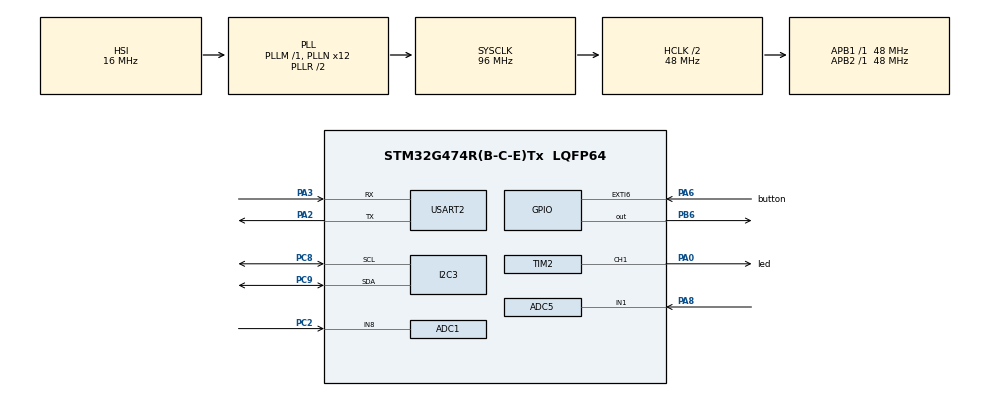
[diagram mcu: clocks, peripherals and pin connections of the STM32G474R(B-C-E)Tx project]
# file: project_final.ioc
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ADC1.Channel-0\#ChannelRegularConversion=ADC_CHANNEL_8
ADC1.ClockPrescaler=ADC_CLOCK_ASYNC_DIV8
ADC1.DMAContinuousRequests=ENABLE
ADC1.EOCSelection=ADC_EOC_SEQ_CONV
ADC1.ExternalTrigConv=ADC_EXTERNALTRIG_T2_TRGO
ADC1.NbrOfConversionFlag=1
ADC1.OffsetNumber-0\#ChannelRegularConversion=ADC_OFFSET_NONE
ADC1.Overrun=ADC_OVR_DATA_OVERWRITTEN
ADC1.Rank-0\#ChannelRegularConversion=1
ADC1.SamplingTime-0\#ChannelRegularConversion=ADC_SAMPLETIME_2CYCLES_5
ADC1.master=1
ADC5.Channel-1\#ChannelRegularConversion=ADC_CHANNEL_1
ADC5.ClockPrescaler=ADC_CLOCK_ASYNC_DIV8
ADC5.DMAContinuousRequests=ENABLE
ADC5.EOCSelection=ADC_EOC_SEQ_CONV
ADC5.ExternalTrigConv=ADC_EXTERNALTRIG_T2_TRGO
ADC5.NbrOfConversionFlag=1
ADC5.OffsetNumber-1\#ChannelRegularConversion=ADC_OFFSET_NONE
ADC5.Overrun=ADC_OVR_DATA_OVERWRITTEN
ADC5.Rank-1\#ChannelRegularConversion=1
ADC5.SamplingTime-1\#ChannelRegularConversion=ADC_SAMPLETIME_2CYCLES_5
Dma.ADC1.0.Direction=DMA_PERIPH_TO_MEMORY
Dma.ADC1.0.EventEnable=DISABLE
Dma.ADC1.0.Instance=DMA1_Channel1
Dma.ADC1.0.MemDataAlignment=DMA_MDATAALIGN_WORD
Dma.ADC1.0.MemInc=DMA_MINC_ENABLE
Dma.ADC1.0.Mode=DMA_CIRCULAR
Dma.ADC1.0.PeriphDataAlignment=DMA_PDATAALIGN_HALFWORD
Dma.ADC1.0.PeriphInc=DMA_PINC_DISABLE
Dma.ADC1.0.Polarity=HAL_DMAMUX_REQ_GEN_RISING
Dma.ADC1.0.Priority=DMA_PRIORITY_LOW
Dma.ADC1.0.RequestNumber=1
Dma.ADC1.0.SignalID=NONE
Dma.ADC1.0.SyncEnable=DISABLE
Dma.ADC1.0.SyncPolarity=HAL_DMAMUX_SYNC_NO_EVENT
Dma.ADC1.0.SyncRequestNumber=1
Dma.ADC1.0.SyncSignalID=NONE
Dma.ADC5.1.Direction=DMA_PERIPH_TO_MEMORY
Dma.ADC5.1.EventEnable=DISABLE
Dma.ADC5.1.Instance=DMA1_Channel2
Dma.ADC5.1.MemDataAlignment=DMA_MDATAALIGN_WORD
Dma.ADC5.1.MemInc=DMA_MINC_ENABLE
Dma.ADC5.1.Mode=DMA_CIRCULAR
Dma.ADC5.1.PeriphDataAlignment=DMA_PDATAALIGN_HALFWORD
Dma.ADC5.1.PeriphInc=DMA_PINC_DISABLE
Dma.ADC5.1.Polarity=HAL_DMAMUX_REQ_GEN_RISING
Dma.ADC5.1.Priority=DMA_PRIORITY_LOW
Dma.ADC5.1.RequestNumber=1
Dma.ADC5.1.SignalID=NONE
Dma.ADC5.1.SyncEnable=DISABLE
Dma.ADC5.1.SyncPolarity=HAL_DMAMUX_SYNC_NO_EVENT
Dma.ADC5.1.SyncRequestNumber=1
Dma.ADC5.1.SyncSignalID=NONE
Dma.Request0=ADC1
Dma.Request1=ADC5
I2C3.Timing=0x20303E5D
Mcu.Family=STM32G4
Mcu.Name=STM32G474R(B-C-E)Tx
Mcu.Package=LQFP64
NVIC.ADC1_2_IRQn=true\:1\:0\:true\:false\:true\:true\:true\:true
NVIC.ADC5_IRQn=true\:0\:0\:true\:false\:true\:true\:true\:true
NVIC.DMA1_Channel1_IRQn=true\:0\:0\:true\:false\:true\:false\:true\:true
NVIC.DMA1_Channel2_IRQn=true\:0\:0\:true\:false\:true\:false\:true\:true
NVIC.EXTI9_5_IRQn=true\:0\:0\:true\:false\:true\:true\:true\:true
NVIC.PriorityGroup=NVIC_PRIORITYGROUP_4
NVIC.TIM1_UP_TIM16_IRQn=true\:0\:0\:false\:false\:true\:true\:true\:true
NVIC.TIM6_DAC_IRQn=true\:0\:0\:true\:false\:true\:true\:true\:true
NVIC.TIM7_DAC_IRQn=true\:0\:0\:true\:false\:true\:true\:true\:true
PA0.GPIO_Label=led
PA0.Signal=S_TIM2_CH1
PA2.Mode=Asynchronous
PA2.Signal=USART2_TX
PA3.Mode=Asynchronous
PA3.Signal=USART2_RX
PA6.GPIO_Label=button
PA6.GPIO_ModeDefaultEXTI=GPIO_MODE_IT_RISING
PA6.Signal=GPXTI6
PA8.Mode=IN1-Single-Ended
PA8.Signal=ADC5_IN1
PB6.PinState=GPIO_PIN_SET
PB6.Signal=GPIO_Output
PC2.Mode=IN8-Single-Ended
PC2.Signal=ADC1_IN8
PC8.GPIO_Pu=GPIO_PULLUP
PC8.Mode=I2C
PC8.Signal=I2C3_SCL
PC9.GPIO_Pu=GPIO_NOPULL
PC9.Mode=I2C
PC9.Signal=I2C3_SDA
ProjectManager.HeapSize=0x200
ProjectManager.StackSize=0x400
ProjectManager.TargetToolchain=STM32CubeIDE
RCC.ADC12Freq_Value=96000000
RCC.ADC345Freq_Value=96000000
RCC.AHBCLKDivider=RCC_SYSCLK_DIV2
RCC.AHBFreq_Value=48000000
RCC.APB1Freq_Value=48000000
RCC.APB1TimFreq_Value=48000000
RCC.APB2Freq_Value=48000000
RCC.APB2TimFreq_Value=48000000
RCC.CortexFreq_Value=48000000
RCC.EXTERNAL_CLOCK_VALUE=12288000
RCC.HCLKFreq_Value=48000000
RCC.HSE_VALUE=24000000
RCC.HSI48_VALUE=48000000
RCC.HSI_VALUE=16000000
RCC.LSE_VALUE=32768
RCC.PLLN=12
RCC.RTCClockSelection=RCC_RTCCLKSOURCE_LSE
RCC.SYSCLKFreq_VALUE=96000000
RCC.SYSCLKSource=RCC_SYSCLKSOURCE_PLLCLK
RCC.USBFreq_Value=96000000
RCC.VCOOutputFreq_Value=192000000
SH.S_TIM2_CH1.0=TIM2_CH1,PWM Generation1 CH1
TIM1.PeriodNoDither=99
TIM1.Prescaler=47999
TIM2.Channel-PWM\ Generation1\ CH1=TIM_CHANNEL_1
TIM2.PeriodNoDither=399
TIM2.Prescaler=479
TIM2.TIM_MasterOutputTrigger=TIM_TRGO_UPDATE
TIM2.TIM_MasterSlaveMode=TIM_MASTERSLAVEMODE_ENABLE
TIM6.PeriodNoDither=29999
TIM6.Prescaler=47999
TIM7.PeriodNoDither=4999
TIM7.Prescaler=47999
USART2.VirtualMode-Asynchronous=VM_ASYNC
VP_SYS_VS_DBSignals.Mode=DisableDeadBatterySignals
VP_TIM1_VS_ClockSourceINT.Mode=Internal
VP_TIM2_VS_ClockSourceINT.Mode=Internal
VP_TIM6_VS_ClockSourceINT.Mode=Enable_Timer
VP_TIM7_VS_ClockSourceINT.Mode=Enable_Timer
board=NUCLEO-G474RE

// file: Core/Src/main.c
/* USER CODE BEGIN Header */
/**
 ******************************************************************************
 * @file           : main.c
 * @brief          : Main program body
 ******************************************************************************
 * @attention
 *
 * Copyright (c) 2024 STMicroelectronics.
 * All rights reserved.
 *
 * This software is licensed under terms that can be found in the LICENSE file
 * in the root directory of this software component.
 * If no LICENSE file comes with this software, it is provided AS-IS.
 *
 ******************************************************************************
 */
/* USER CODE END Header */
#include "main.h"
#include "adc.h"
#include "dma.h"
#include "i2c.h"
#include "tim.h"
#include "usart.h"
#include "gpio.h"

/* USER CODE BEGIN Includes */
#include "string.h"
#include "stdio.h"
#include "stdbool.h"

#include "ssd1306.h"
#include "ssd1306_plots.h"
#include "ssd1306_pages.h"
#include "rtc_ds3231.h"

#include "heart_rate.h"
#include "simple_filters.h"
#include "statistics.h"
/* USER CODE END Includes */

/* USER CODE BEGIN PM */
#define SIZE 7650        // Size of the main buffer
#define MIN_SIZE 10	     // Size of the mini buffers
#define PERIOD 25	     // Moving average filter window
#define CONTROL_RANGE 75 // Range of control for the R-Interval function
#define ALPHA 0.1 		 // Smoothing coefficient -> can be used if the low pass filter is needed
#define SAMPLING_TIME 4  // 4 ms sampling time for the ADC modules
#define BEATS 60         // Constant for the BPMs (80 for a little bit of margin)
#define OLED_SIZE 5      // Size of the plot buffer for the second OLED mode -> 5 is the number of value that the OLED have at every plotting step
#define RANGE_MIN 1750   // Values used to check is the Pulse sensor is correctly applied to the patient (1750 - 2250)
#define RANGE_MAX 2250   //
#define RANGE_MIN2 1500  // Values used to check is the ECG sensor is correctly applied to the patient (1500 - 3500)
#define RANGE_MAX2 3500  //
#define MIN_DIASIS 50    // Min & Max Control values for the systolic and diastolic functions
#define MAX_DIASIS 1000  //
#define MIN_PAT 5        // Min & Max Control values for the PAT parameter (5-1000)
#define MAX_PAT  1000	 //
#define NUM_PAGES 3		 // Number of OLED pages
/* USER CODE END PM */

/* USER CODE BEGIN PV */
uint32_t buffer[SIZE];					 // Main PPG Data buffer
uint32_t buffer_adc5[SIZE / 2];			 // Main ECG Data buffer
uint32_t mini_buffer[MIN_SIZE]; 		 // ADC1 (PPG) buffer
uint32_t mini_buffer_adc5[MIN_SIZE]; 	 // ADC5 (ECG) buffer
uint16_t fullness = 0;					 // Fullness state of the Main buffers (PPG & ECG)
uint32_t *reference = buffer;		     // PPG Buffer Pointer (for referencing it)
uint32_t *reference_adc5 = buffer_adc5;  // ECG Buffer Pointer (for referencing it)
float interval[BEATS];					 // Array of Inter-Beat Intervals (IBI) -> peak to peak interval in the PPG signal
float interval_adc5[BEATS];				 // Array of R-R intervals -> peak to peak interval in the ECG signal
uint16_t rate_position[BEATS];			 // Array of peaks positions in the PPG signal
uint16_t rate_position_adc5[BEATS];		 // Array of peaks positions in the ECG signal
int beats; 								 // Integer value indicating the total number of detected beats by the PPG
int beats_adc5;							 // Integer value indicating the total number of detected beats by the ECG
uint32_t buffer_oled[OLED_SIZE];		 // OLED Buffer for the first plot of the second mode
uint32_t buffer_oled2[OLED_SIZE];		 // OLED Buffer for the second plot of the second mode
int oled_count = 0;                      // OLED Buffer counter
plot_OLED plot;							 // OLED struct instance
date_time_type datetime;				 // Date Time struct instance

bool not_warning = false;				 // Boolean for the warning page
bool button_state = true;				 // Boolean for the button state
/* USER CODE END PV */

void SystemClock_Config(void);

/* USER CODE BEGIN 0 */
bool check_values(uint32_t[], uint16_t, uint16_t, uint16_t);
void handle_button_press(uint8_t*);
void reset_parameters(void);
/* USER CODE END 0 */

int main(void)
{

  /* MCU Configuration--------------------------------------------------------*/

  /* Reset of all peripherals, Initializes the Flash interface and the Systick. */
  HAL_Init();

  /* Configure the system clock */
  SystemClock_Config();

  /* Initialize all configured peripherals */
  MX_GPIO_Init();
  MX_DMA_Init();
  MX_ADC1_Init();
  MX_I2C3_Init();
  MX_TIM2_Init();
  MX_TIM6_Init();
  MX_USART2_UART_Init();
  MX_ADC5_Init();
  MX_TIM7_Init();
  MX_TIM1_Init();
  /* USER CODE BEGIN 2 */

	// Datetime struct init
	if ((ds3231rtc_init(&hi2c3)) != 0) {
		char msg[100];
		sprintf(msg, "\nError with init of ds3231\n\r");
		HAL_UART_Transmit(&huart2, (uint8_t*) msg, strlen(msg), HAL_MAX_DELAY);
	}

	// Date time struct assegnation -> not all the RTCs are initialized
	datetime.minutes = 00;
	datetime.hours = 15;
	datetime.seconds = 00;
	datetime.date = 14;
	datetime.month = 06;
	datetime.year = 24;

	// Set time
	if (ds3231rtc_set_date_time(&datetime) != 0) {
		char msg[100];
		sprintf(msg, "\nError with set of ds3231\n\r");
		HAL_UART_Transmit(&huart2, (uint8_t*) msg, strlen(msg), HAL_MAX_DELAY);
	}

	ssd1306_Init(); 		//  OLED & plot initializers
	ssd1306_UpdateScreen();
	plot = ssd1306_PlotInit(buffer_oled, OLED_SIZE, buffer_oled2);

	HAL_TIM_Base_Start(&htim2);
	HAL_TIM_Base_Start_IT(&htim6);

	HAL_ADC_Start_DMA(&hadc1, mini_buffer, MIN_SIZE);
	HAL_TIM_PWM_Start(&htim2, TIM_CHANNEL_1);

	ssd1306_PrintMessage2("Loading...");
  /* USER CODE END 2 */

  /* Infinite loop */
	while (1) {

	}
}

void SystemClock_Config(void)
{
  RCC_OscInitTypeDef RCC_OscInitStruct = {0};
  RCC_ClkInitTypeDef RCC_ClkInitStruct = {0};

  /** Configure the main internal regulator output voltage
  */
  HAL_PWREx_ControlVoltageScaling(PWR_REGULATOR_VOLTAGE_SCALE1);

  /** Initializes the RCC Oscillators according to the specified parameters
  * in the RCC_OscInitTypeDef structure.
  */
  RCC_OscInitStruct.OscillatorType = RCC_OSCILLATORTYPE_HSI;
  RCC_OscInitStruct.HSIState = RCC_HSI_ON;
  RCC_OscInitStruct.HSICalibrationValue = RCC_HSICALIBRATION_DEFAULT;
  RCC_OscInitStruct.PLL.PLLState = RCC_PLL_ON;
  RCC_OscInitStruct.PLL.PLLSource = RCC_PLLSOURCE_HSI;
  RCC_OscInitStruct.PLL.PLLM = RCC_PLLM_DIV1;
  RCC_OscInitStruct.PLL.PLLN = 12;
  RCC_OscInitStruct.PLL.PLLP = RCC_PLLP_DIV2;
  RCC_OscInitStruct.PLL.PLLQ = RCC_PLLQ_DIV2;
  RCC_OscInitStruct.PLL.PLLR = RCC_PLLR_DIV2;
  if (HAL_RCC_OscConfig(&RCC_OscInitStruct) != HAL_OK)
  {
    Error_Handler();
  }

  /** Initializes the CPU, AHB and APB buses clocks
  */
  RCC_ClkInitStruct.ClockType = RCC_CLOCKTYPE_HCLK|RCC_CLOCKTYPE_SYSCLK
                              |RCC_CLOCKTYPE_PCLK1|RCC_CLOCKTYPE_PCLK2;
  RCC_ClkInitStruct.SYSCLKSource = RCC_SYSCLKSOURCE_PLLCLK;
  RCC_ClkInitStruct.AHBCLKDivider = RCC_SYSCLK_DIV2;
  RCC_ClkInitStruct.APB1CLKDivider = RCC_HCLK_DIV1;
  RCC_ClkInitStruct.APB2CLKDivider = RCC_HCLK_DIV1;

  if (HAL_RCC_ClockConfig(&RCC_ClkInitStruct, FLASH_LATENCY_1) != HAL_OK)
  {
    Error_Handler();
  }
}

/* USER CODE BEGIN 4 */
// Check if a value in the ADCs mini buffers is out of range -> Correct sensor placement
bool check_values(uint32_t array[], uint16_t size, uint16_t range_min,
		uint16_t range_max) {

	bool within_range = true;

	// Check if all ADC values are within the range
	for (int i = 0; i < size; i++) {
		if (array[i] < range_min || array[i] > range_max) {
			within_range = false;
			break;
		}
	}
	return within_range;
}
// resets references
void reset_parameters(void) {
	reference_adc5 = buffer_adc5;
	reference = buffer;
	fullness = 0;
}

void handle_button_press(uint8_t *current_page) {

	if (*current_page + 1 > NUM_PAGES)
		*current_page = 1;
	else
		*current_page += 1;
}

void HAL_TIM_PeriodElapsedCallback(TIM_HandleTypeDef *htim) {
	uint16_t new_size = fullness; // saves the ADC buffer fullness because it is a global variable!
	uint32_t buffer2_adc1[SIZE];
	uint32_t buffer2_adc5[SIZE];

	float heart_rate;
	char msg[1000];

	if (htim->Instance == TIM1) {
		if (HAL_GPIO_ReadPin(button_GPIO_Port, button_Pin) == GPIO_PIN_SET) {

			HAL_TIM_Base_Stop_IT(&htim1); // We want to wait for the button state to be high, so we need to stop TIM1 here

			reset_parameters();
			oled_count = 0;		 // OLED Buffer counter reset
			handle_button_press(&(plot->page));

			sprintf(msg, "Current page: %hu \n\r", plot->page);
			HAL_UART_Transmit(&huart2, (uint8_t*) msg, strlen(msg), HAL_MAX_DELAY);

			ssd1306_SetPage(plot, plot->page);

			button_state = true;

			__HAL_TIM_SET_COMPARE(&htim2, TIM_CHANNEL_1, 1);
			__HAL_TIM_SET_COUNTER(&htim6, 0);					//Resets the timers counters
			__HAL_TIM_SET_COUNTER(&htim7, 0);					//

			switch (plot->page) {
			case 1:
				HAL_ADC_Stop_DMA(&hadc5);
				HAL_TIM_Base_Start_IT(&htim6); // Page 1 Displays HR & HRV according to TIM6
				HAL_TIM_Base_Stop_IT(&htim7);
				ssd1306_PrintMessage2("Loading...");
				break;
			case 2:
				HAL_TIM_Base_Stop_IT(&htim6);  // Page 2 Displays ECG & PPG plots
				HAL_ADC_Start_DMA(&hadc5, mini_buffer_adc5, MIN_SIZE);
				break;
			case 3:
				HAL_ADC_Start_DMA(&hadc5, mini_buffer_adc5, MIN_SIZE);	//
				HAL_TIM_Base_Start_IT(&htim7);							// Page 1 Displays HR & HRV according to TIM7
				break;
			default:
				break;
			}
		}
	}

	if (htim->Instance == TIM6) {

		if (new_size != 0) { // if the buffer is not empty
			HAL_ADC_Stop_DMA(&hadc1);
			reset_parameters();

			//Filters
			moving_average_filter(buffer, buffer2_adc1, new_size, PERIOD);
			high_pass_filter_flat(buffer2_adc1, new_size);	// Removes the average component
			high_pass_filter_flat(buffer2_adc1, new_size);	// Gets rid of the lower peaks
			high_pass_filter_flat(buffer2_adc1, new_size);	// Increases overall accuracy -> can be commented if necessary!

			float interval2[BEATS];
			// Works with references, interval will contain all the IPI intervals in the PPG signal, while rate_position the peaks positions in the buffer
			calculate_peak_intervals(buffer2_adc1, interval, rate_position,
					new_size, &beats,
					SAMPLING_TIME, CONTROL_RANGE);
			uint16_t right_beats = remove_wrong(interval, beats, interval2, 300, 1200); // Additional control of the Inter-Beat Intervals values (IBI)

			if ((ds3231rtc_get_date_time(&datetime)) != 0) {
				printf("\nError with get time\n\r");
			}

			float heart_rate_variability = standard_deviation(interval2, right_beats); // Calculates HRV
			heart_rate = 60000 / simple_mean(interval2, right_beats); // Calculates HR

			sprintf(msg,
					"Data from PulseSensor, acquired every 30s:\n\rDate: %.2d/%.2d/%.2d Time: %.2d:%.2d:%.2d\n\rHeart rate: %hu bpm\n\rHeart rate variability: %.1fms\n\rNumber of samples: %hu\n\r",
					datetime.date, datetime.month, datetime.year,
					datetime.hours, datetime.minutes, datetime.seconds,
					(uint16_t) heart_rate, heart_rate_variability, new_size);
			HAL_UART_Transmit(&huart2, (uint8_t*) msg, strlen(msg),
			HAL_MAX_DELAY);

			// USART2 transmits for abnormal HR & HRV values
			if (heart_rate < 49) {
				HAL_UART_Transmit(&huart2,
						(uint8_t *) "Be careful: low heart rate!",
						strlen("Be careful: low heart rate!"),
						HAL_MAX_DELAY);
			} else if (heart_rate > 110) {
				HAL_UART_Transmit(&huart2,
						(uint8_t *) "Take a deep breath: high heart rate!",
						strlen("Take a deep breath: high heart rate!"),
						HAL_MAX_DELAY);
			}

			if (heart_rate_variability < 10) {
				HAL_UART_Transmit(&huart2,
						(uint8_t *) "Be careful: low heart rate variability!",
						strlen("Be careful: low heart rate variability!"),
						HAL_MAX_DELAY);
			} else if (heart_rate_variability > 80) {
				HAL_UART_Transmit(&huart2,
						(uint8_t *) "Take a deep breath: high heart rate variability!",
						strlen("Take a deep breath: high heart rate variability!"),
						HAL_MAX_DELAY);
			}

			ssd1306_PrintValuesPage1((uint16_t) heart_rate, heart_rate_variability); // Display HR & HRV

			__HAL_TIM_SET_COUNTER(&htim6, 0);
			HAL_ADC_Start_DMA(&hadc1, mini_buffer, MIN_SIZE);
		}
	}

	if (htim->Instance == TIM7) {

		if (new_size > 20) { // if the buffer is not empty
			HAL_ADC_Stop_DMA(&hadc5);
			HAL_ADC_Stop_DMA(&hadc1);
			reset_parameters();

			moving_average_filter(buffer, buffer2_adc1, new_size, PERIOD);
			memcpy(buffer, buffer2_adc1, new_size * sizeof(uint32_t)); // SYS AND DIA are calculated after on a non high-filtered buffer -> we used memcpy
			high_pass_filter_flat(buffer2_adc1, new_size);			   // Here the previously filtered buffer is re-filtered and used for the R-R peaks calculation

			calculate_peak_intervals(buffer2_adc1, interval, rate_position, new_size, // For PPG IBI intervals
					&beats,
					SAMPLING_TIME, CONTROL_RANGE);

			moving_average_filter(buffer_adc5, buffer2_adc5, new_size, PERIOD / 5); // Now for the ECG part -> double filter
			high_pass_filter_flat(buffer2_adc5, new_size);
			calculate_peak_intervals(buffer2_adc5, interval_adc5, 	// Calculation of ECG R-R peaks intervals
					rate_position_adc5, new_size, &beats_adc5,
					SAMPLING_TIME, CONTROL_RANGE);

			float interval2[BEATS];
			uint16_t right_beats = remove_wrong(interval, beats, interval2, 300, 1000); // Additional control of the R-R Intervals values
			buffer_oled[0] = 60000 / simple_mean(interval2, right_beats); // For the HR plot in the third page
			buffer_oled2[0] = standard_deviation(interval2, right_beats); // For the HRV plot in the third page
			ssd1306_Plot(plot);

			int minimum_position;
			int closest_peak;
			float systolic[BEATS], diastolic[BEATS], pat[BEATS];

			if (beats > 1) { 		// We need at least 1 beat!

				for (int j = 1; j < beats + 1; j++) { // for all the PPG beats

					minimum_position = find_minimum_position(
							&buffer[rate_position[j - 1]],
							rate_position[j] - rate_position[j - 1]);

					systolic[j - 1] = (rate_position[j] - minimum_position
							- rate_position[j - 1]) * SAMPLING_TIME;
					diastolic[j - 1] = (minimum_position) * SAMPLING_TIME;   // SYS & DIA calculus

					if (beats_adc5 >= 2 && beats_adc5 <= beats + 2) { // Checks if the ECG and PPG beats are similar (the margin can be changed)

						for (int k = 0; k < beats_adc5; k++) { // and for all the ECG beats

							if (rate_position_adc5[k] < rate_position[j])  // Find the closest ECG-PPG peak variation
								closest_peak = k;

						}
						pat[j - 1] = (rate_position[closest_peak]
								- rate_position_adc5[j]) * SAMPLING_TIME; // PAT calculus
					}
				}

				uint16_t size_pat = 0;
				float systolic2[BEATS], diastolic2[BEATS], pat2[BEATS];
				uint16_t size_diastolic = remove_wrong(diastolic, beats,   // Additional control of the DIA values
						diastolic2, MIN_DIASIS, MAX_DIASIS);
				uint16_t size_systolic = remove_wrong(systolic, beats,    // Additional control of the SYS values
						systolic2, MIN_DIASIS, MAX_DIASIS);

				if (beats_adc5 >= 2 && beats_adc5 <= beats + 2)
					size_pat = remove_wrong(pat, beats - 1, pat2, MIN_PAT,  // Additional control of the PAT values
							MAX_PAT);

				if (size_diastolic == 0 || size_systolic == 0) {
					// UART DA SCRIVERE

				} else {

					ssd1306_PrintValuesPage3(
							simple_mean(diastolic2, size_diastolic),
							simple_mean(systolic2, size_systolic),
							simple_mean(pat2, size_pat));
					sprintf(msg, "Diastolic: %f Systolic: %f Pat: %f\n\r",
							simple_mean(diastolic2, size_diastolic),
							simple_mean(systolic2, size_systolic),
							simple_mean(pat2, size_pat));
					HAL_UART_Transmit(&huart2, (uint8_t*) msg, strlen(msg), HAL_MAX_DELAY);
				}
			}
		}
		__HAL_TIM_SET_COUNTER(&htim7, 0); 					 // Resets TIM7 counter
		HAL_ADC_Start_DMA(&hadc1, mini_buffer, MIN_SIZE);
		HAL_ADC_Start_DMA(&hadc5, mini_buffer_adc5, MIN_SIZE);
	}
}

void HAL_ADC_ConvCpltCallback(ADC_HandleTypeDef *hadc) {
	char msg[1000];

	if (hadc->Instance == ADC1) {

		if (fullness > SIZE)  // here we reset only if the array is exceeding in its size -> this could happen very rarely
			reset_parameters();

		fullness += MIN_SIZE; // Slight increase of the buffer fullness

		if (check_values(mini_buffer, MIN_SIZE, RANGE_MIN, RANGE_MAX)) { //Check if ADC values are within the correct range
			if (not_warning) {
				ssd1306_SetPage(plot, plot->page);

				not_warning = false;
				if (plot->page == 1)
					ssd1306_PrintMessage2("Loading..."); // Loading...
			}

			memcpy(reference, mini_buffer, MIN_SIZE * sizeof(uint32_t));
			reference += MIN_SIZE;

			if (plot->page == 2) { // If the current display page is page 2
				for(int i=0; i<MIN_SIZE; i++) { // USART2 transmit for raws PPG values
					sprintf(msg,"Value from PPG: %lu\n\r", mini_buffer[i]);
					HAL_UART_Transmit(&huart2, (uint8_t*) msg, strlen(msg), HAL_MAX_DELAY);
				}
			    if (oled_count >= OLED_SIZE) { // If the OLED counter has reached its maximum size, reset the OLED counter
			        oled_count = 0;
			        ssd1306_Plot(plot); // Plot page 2
			    }
			    buffer_oled[oled_count] = int_simple_mean(mini_buffer, MIN_SIZE); // Calculate the simple mean of the values in mini_buffer

			    buffer_oled2[oled_count] = int_simple_mean(mini_buffer_adc5, MIN_SIZE); // Calculate the simple mean of the values in mini_buffer_adc5
			    __HAL_TIM_SET_COMPARE(&htim2, TIM_CHANNEL_1, ((buffer_oled2[oled_count] - RANGE_MIN) * 398 ) / (RANGE_MAX - RANGE_MIN)); // Set the PULSE value for the LED signal based on the calculated mean value from buffer_oled2

			    oled_count++;
			}
			if (plot->page == 3) { // If the current display page is page 3
			    memcpy(reference_adc5, mini_buffer_adc5, MIN_SIZE * sizeof(uint32_t));
			    reference_adc5 += MIN_SIZE; // Move the reference_adc5 pointer forward by MIN_SIZE
			}
			} else { // If the ADC values are out of range

			    not_warning = true; // WARNING flag
			    ssd1306_DrawWarning();

			    __HAL_TIM_SET_COUNTER(&htim6, 0); // Reset the counters of TIM6 & TIM7
			    __HAL_TIM_SET_COUNTER(&htim7, 0); //
			    reset_parameters();
			    oled_count = 0;

			    sprintf(msg, "Error: ADC values out of range. Please reposition the sensor.\n\r");
			    HAL_UART_Transmit(&huart2, (uint8_t*) msg, strlen(msg), HAL_MAX_DELAY);
			}
	}

	if (hadc->Instance == ADC5) {

		if (!check_values(mini_buffer_adc5, MIN_SIZE, RANGE_MIN2,
					RANGE_MAX2)) { //Check if ADC values aren't within the correct range
			not_warning = true;
			ssd1306_DrawWarning();
			__HAL_TIM_SET_COUNTER(&htim6, 0); // Reset the counters of TIM6 & TIM7
			__HAL_TIM_SET_COUNTER(&htim7, 0); //

			reset_parameters();
			oled_count = 0;

			sprintf(msg,
					"Error: ADC values out of range. Please reposition the sensor.\n\r"); // Format an error message
			HAL_UART_Transmit(&huart2, (uint8_t*) msg, strlen(msg),
					HAL_MAX_DELAY); // Transmit the error message over UART
			} else {
				if (plot->page == 2) {
					for (int i = 0; i < MIN_SIZE; i++) {
						sprintf(msg, "Value from ECG: %lu\n\r",
								mini_buffer_adc5[i]);
						HAL_UART_Transmit(&huart2, (uint8_t*) msg, strlen(msg), // USART2 transmit for raws ECG values
								HAL_MAX_DELAY);

				}
			}
		}
	}
}

void HAL_GPIO_EXTI_Callback(uint16_t GPIO_Pin) {
	if (GPIO_Pin == button_Pin && button_state == true) { // Check if the interrupt was caused by the button press and the button is in the pressed state
		HAL_TIM_Base_Start_IT(&htim1); // Start timer 1 with interrupt enabled
		button_state = false; // Set button_state to false to indicate the button has been handled
	}
}

/* USER CODE END 4 */

void Error_Handler(void)
{
	__disable_irq();
	while (1) {
	}
}
